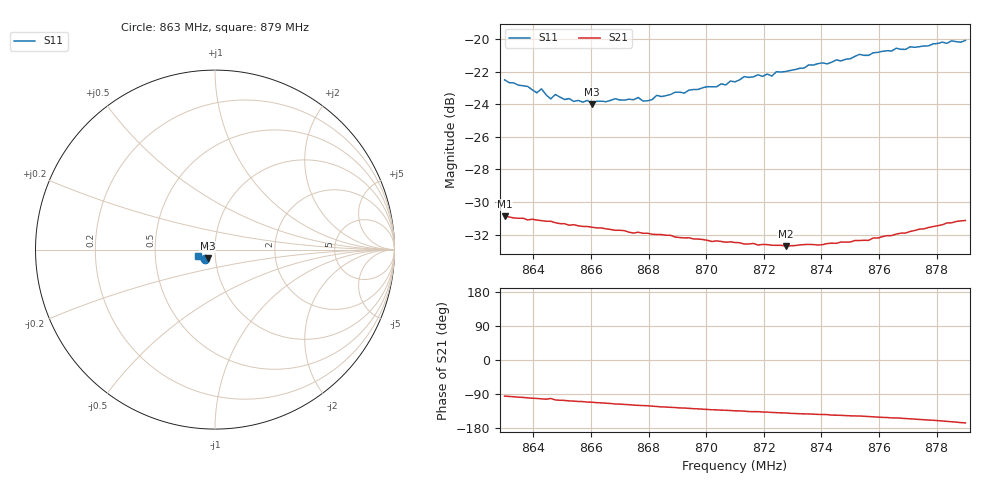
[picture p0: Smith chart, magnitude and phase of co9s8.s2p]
# HZ S RI R 50
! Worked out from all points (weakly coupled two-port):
!   101 points, 863 MHz to 879 MHz, reference 50 ohm
!   highest |S21| = -30.87 dB at 863 MHz (marker M1); lowest = -32.7 dB at 872.76 MHz (marker M2)
!   lowest |S11| = -24.0 dB at 866.04 MHz (marker M3), VSWR 1.13, Z = 45.9 - j4.43 ohm
!   |S11| at or under -10 dB: start of sweep to end of sweep
!   S12 and S22 are empty: the file has one direction only
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8.63e8  -0.0555 -0.0504  -0.00263 -0.0285  0 0  0 0
8.638e8  -0.0533 -0.0477  -0.00477 -0.0275  0 0  0 0
8.6412e8  -0.0496 -0.0471  -0.00553 -0.0273  0 0  0 0
8.6428e8  -0.0504 -0.0491  -0.00605 -0.0271  0 0  0 0
8.646e8  -0.0453 -0.0473  -0.00555 -0.027  0 0  0 0
8.6476e8  -0.0486 -0.0469  -0.00723 -0.0263  0 0  0 0
8.6572e8  -0.044 -0.0465  -0.009 -0.025  0 0  0 0
8.6588e8  -0.0457 -0.0459  -0.0096 -0.0248  0 0  0 0
8.6604e8  -0.0409 -0.0481  -0.00964 -0.0246  0 0  0 0
8.6684e8  -0.0439 -0.0487  -0.0114 -0.0233  0 0  0 0
8.6764e8  -0.043 -0.0503  -0.0127 -0.0222  0 0  0 0
8.6796e8  -0.0414 -0.0496  -0.013 -0.0218  0 0  0 0
8.6828e8  -0.042 -0.0524  -0.0136 -0.0212  0 0  0 0
8.6844e8  -0.0422 -0.0515  -0.0139 -0.0209  0 0  0 0
8.71e8  -0.0478 -0.0563  -0.0165 -0.0171  0 0  0 0
8.7132e8  -0.051 -0.0573  -0.0166 -0.0166  0 0  0 0
8.7228e8  -0.0529 -0.0559  -0.0174 -0.0155  0 0  0 0
8.7244e8  -0.0553 -0.0569  -0.0176 -0.0153  0 0  0 0
8.7276e8  -0.0554 -0.057  -0.0176 -0.015  0 0  0 0
8.7372e8  -0.0601 -0.0575  -0.0187 -0.0141  0 0  0 0
8.7644e8  -0.0772 -0.0498  -0.0222 -0.0114  0 0  0 0
8.79e8  -0.0931 -0.0335  -0.0269 -0.00674  0 0  0 0
